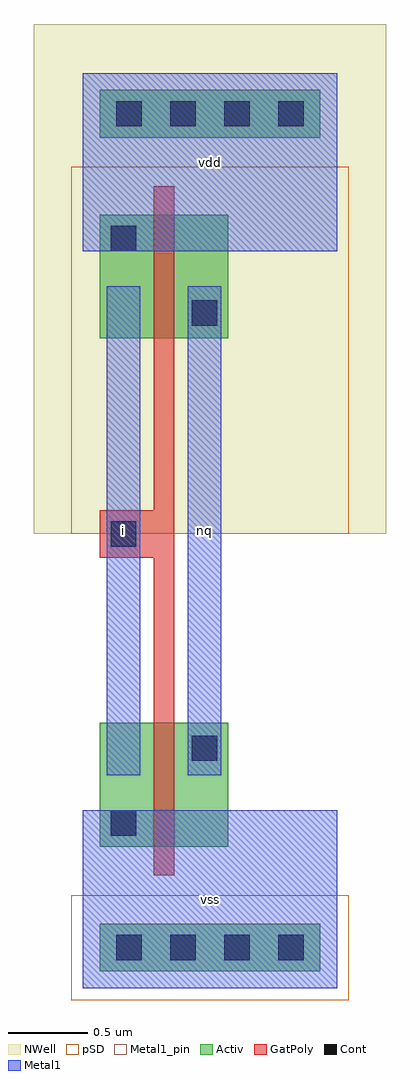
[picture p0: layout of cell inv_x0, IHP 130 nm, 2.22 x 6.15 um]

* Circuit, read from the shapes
.subckt inv_x0 i nq vdd vss
XM1 nq i vss vss sg13_lv_nmos w=0.78u l=0.13u
XM2 nq i vdd vdd sg13_lv_pmos w=0.78u l=0.13u
.ends

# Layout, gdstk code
import gdstk
lib = gdstk.Library(unit=1e-6, precision=1e-09)
def R(c, l, rs):  # rectangles x0, y0, x1, y1
    for r in rs: c.add(gdstk.rectangle(r[:2], r[2:], *l))
def A(c, l, x, y, w, h, nx, ny, dx, dy):  # array of equal rectangles
    R(c, l, [(x+i*dx, y+j*dy, x+i*dx+w, y+j*dy+h) for i in range(nx) for j in range(ny)])
def P(c, l, *ps):  # polygons
    for p in ps: c.add(gdstk.Polygon(p, *l))
Activ = (1, 0)
GatPoly = (5, 0)
Cont = (6, 0)
Metal1 = (8, 0)
Metal1_pin = (8, 2)
pSD = (14, 0)
NWell = (31, 0)

inv_x0 = lib.new_cell('inv_x0')
R(inv_x0, Activ, [(0.105,0.105,1.495,0.405), (0.105,0.89,0.915,1.67), (0.105,4.09,0.915,4.87), (0.105,5.355,1.495,5.655)])
P(inv_x0, GatPoly, [(0.445,0.71),(0.445,2.71),(0.105,2.71),(0.105,3.01),(0.445,3.01),(0.445,5.05),(0.575,5.05),(0.575,0.71)])
A(inv_x0, Cont, 0.21, 0.175, 0.16, 0.16, 4, 2, 0.34, 5.25)
R(inv_x0, Cont, [(0.175,0.96,0.335,1.12), (0.685,1.43,0.845,1.59), (0.175,2.78,0.335,2.94), (0.685,4.17,0.845,4.33), (0.175,4.64,0.335,4.8)])
R(inv_x0, Metal1, [(0,0,1.6,1.12), (0.15,1.34,0.36,4.42), (0.66,1.34,0.87,4.42), (0,4.64,1.6,5.76)])
R(inv_x0, Metal1_pin, [(0,0,1.6,1.12), (0.15,1.34,0.36,4.42), (0.66,1.34,0.87,4.42), (0,4.64,1.6,5.76)])
R(inv_x0, pSD, [(-0.075,-0.075,1.675,0.585), (-0.075,2.86,1.675,5.17)])
R(inv_x0, NWell, [(-0.31,2.86,1.91,6.07)])
inv_x0.add(gdstk.Label('vss', (0.8,0.56), layer=8, texttype=2))
inv_x0.add(gdstk.Label('vdd', (0.8,5.2), layer=8, texttype=2))
inv_x0.add(gdstk.Label('nq', (0.765,2.88), layer=8, texttype=2))
inv_x0.add(gdstk.Label('i', (0.255,2.88), layer=8, texttype=2))

lib.write_gds('inv_x0.gds')
